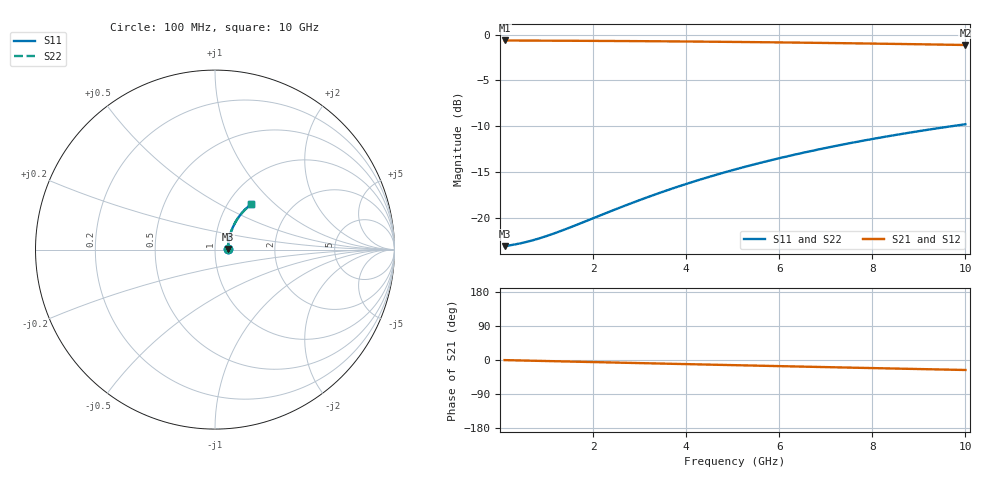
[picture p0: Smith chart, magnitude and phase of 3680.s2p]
# Hz S RI R 50.00
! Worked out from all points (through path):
!   100 points, 100 MHz to 10 GHz, reference 50 ohm
!   highest |S21| = -0.63 dB at 100 MHz (marker M1); lowest = -1.1 dB at 10 GHz (marker M2)
!   group delay of S21, straight-line fit = 7.33 ps
!   lowest |S11| = -23.1 dB at 100 MHz (marker M3), VSWR 1.15, Z = 57.5 + j0.357 ohm
!   |S11| at or under -10 dB: start of sweep to 9.691 GHz
!   |S22| runs from -23.1 to -9.8 dB; largest |S21 - S12| = 0
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1e8  0.07 0.00309  0.93 -0.00444  0.93 -0.00444  0.07 0.00309
3e8  0.0709 0.00924  0.9291 -0.0133  0.9291 -0.0133  0.0709 0.00924
5e8  0.0716 0.0154  0.9284 -0.0222  0.9284 -0.0222  0.0716 0.0154
8e8  0.0727 0.0245  0.9273 -0.0354  0.9273 -0.0354  0.0727 0.0245
1e9  0.0735 0.0306  0.9264 -0.0442  0.9264 -0.0442  0.0735 0.0306
1.2e9  0.0743 0.0367  0.9255 -0.053  0.9255 -0.053  0.0743 0.0367
1.5e9  0.0758 0.0458  0.9239 -0.0662  0.9239 -0.0662  0.0758 0.0458
1.8e9  0.0775 0.0548  0.9221 -0.0793  0.9221 -0.0793  0.0775 0.0548
2.7e9  0.084 0.0814  0.9153 -0.1182  0.9153 -0.1182  0.084 0.0814
3.1e9  0.0875 0.0931  0.9115 -0.1352  0.9115 -0.1352  0.0875 0.0931
3.4e9  0.0905 0.1016  0.9084 -0.1479  0.9084 -0.1479  0.0905 0.1016
3.8e9  0.0947 0.1129  0.9039 -0.1646  0.9039 -0.1646  0.0947 0.1129
4.2e9  0.0994 0.124  0.8989 -0.1811  0.8989 -0.1811  0.0994 0.124
4.6e9  0.1044 0.1349  0.8935 -0.1974  0.8935 -0.1974  0.1044 0.1349
5.1e9  0.1112 0.1481  0.8862 -0.2175  0.8862 -0.2175  0.1112 0.1481
5.5e9  0.1171 0.1584  0.88 -0.2333  0.88 -0.2333  0.1171 0.1584
5.9e9  0.1233 0.1684  0.8733 -0.2488  0.8733 -0.2488  0.1233 0.1684
6.7e9  0.1367 0.1876  0.859 -0.2789  0.859 -0.2789  0.1367 0.1876
7.5e9  0.1512 0.2056  0.8433 -0.3078  0.8433 -0.3078  0.1512 0.2056
8.4e9  0.1689 0.2243  0.8242 -0.3389  0.8242 -0.3389  0.1689 0.2243
9.2e9  0.1856 0.2394  0.8062 -0.365  0.8062 -0.365  0.1856 0.2394
1e10  0.203 0.2531  0.7872 -0.3898  0.7872 -0.3898  0.203 0.2531
